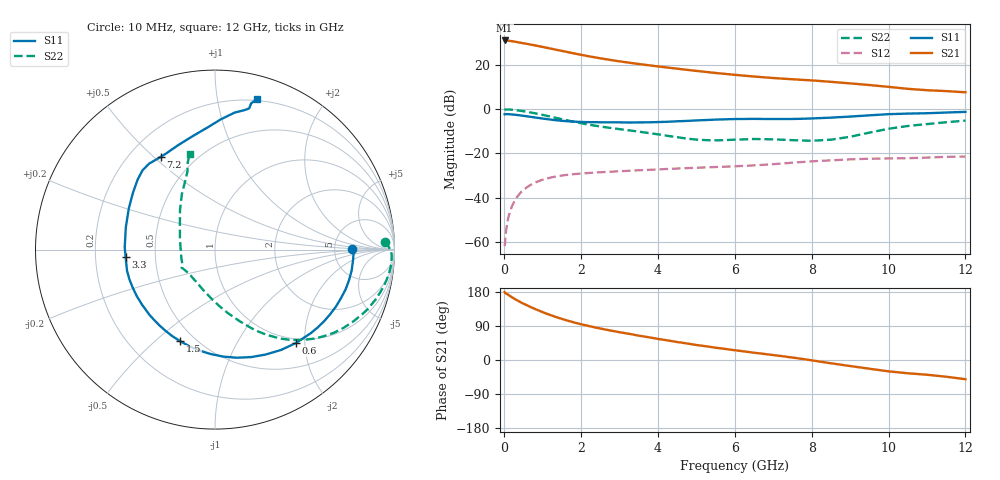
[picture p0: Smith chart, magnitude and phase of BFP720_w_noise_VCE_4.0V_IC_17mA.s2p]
! Infineon Technologies  Discrete & RF Semiconductors
! BFP720
! VCE =  4.0 V,  IC =  17 mA
! Common Emitter S-Parameters:  Aug 2012
# GHz  S  MA  R  50
!  f  S11  S21  S12  S22
! GHz  MAG  ANG  MAG  ANG  MAG  ANG  MAG  ANG
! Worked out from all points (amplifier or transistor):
!   105 points, 10 MHz to 12 GHz, reference 50 ohm
!   highest |S21| = 31.1 dB at 10 MHz (marker M1)
!   |S21| within 3 dB of that: start of sweep to 1.019 GHz
!   unconditionally stable (mu >= 1): start of sweep to 15.02 MHz; 4.653 GHz to 10.76 GHz
!   at 300 MHz: K = 0.17, MSG = 35.5 dB, |S12| = -40.5 dB
!   at 3.6 GHz: K = 0.85, MSG = 23.9 dB, |S12| = -27.6 dB
!   at 12 GHz: K = 0.76, MSG = 14.5 dB, |S12| = -21.4 dB
!   lowest NFmin = 0.67 dB at 450 MHz
!   S11 on the Smith chart (normalised r, x): 10 MHz: 7.51, +0.19; 600 MHz: 0.92, -1.82; 1.5 GHz: 0.42, -0.61; 3.3 GHz: 0.33, -0.04; 7.2 GHz: 0.33, +0.53; 12 GHz: 0.19, +1.30
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0.01  0.765 0.4  35.76 179.1  0.0008 17.1  0.9485 2.7
0.02  0.7725 -1.3  35.69 177.3  0.0009 65.9  0.9809 -0.3
0.05  0.7716 -4.0  35.7 175.6  0.0018 80.0  0.9855 -2.0
0.15  0.7661 -12.8  34.94 169.0  0.0047 79.7  0.9793 -7.5
0.3  0.7446 -25.3  33.26 159.5  0.0094 74.9  0.9496 -14.7
0.45  0.7178 -37.3  31.49 151.3  0.0136 69.8  0.9123 -21.4
0.6  0.6887 -49.0  29.82 143.9  0.0174 65.0  0.868 -27.5
0.8  0.6493 -64.2  27.66 134.7  0.0218 58.7  0.8074 -35.1
1  0.6143 -78.7  25.51 126.4  0.0255 53.2  0.7427 -41.9
1.2  0.5824 -92.3  23.51 118.7  0.0283 48.4  0.68 -47.8
1.5  0.5464 -110.7  20.74 108.5  0.0316 42.5  0.5935 -55.4
1.8  0.5238 -126.2  18.34 99.6  0.0339 38.0  0.5212 -61.7
2.1  0.5113 -138.7  16.3 92.1  0.0356 34.9  0.4642 -66.7
2.6  0.5049 -155.4  13.66 81.0  0.0379 31.1  0.3942 -74.1
3.3  0.4995 -175.4  11.09 68.2  0.0407 27.9  0.3273 -83.5
4.1  0.5144 163.6  9.039 54.1  0.0439 25.2  0.2617 -97.2
5  0.5571 145.0  7.332 39.6  0.0474 22.6  0.2055 -122.5
6.1  0.5994 131.3  5.871 24.5  0.0516 20.7  0.2058 -148.2
7.2  0.599 120.3  4.927 10.5  0.0589 19.5  0.2045 -153.6
8.5  0.6436 101.3  4.152 -8.6  0.0697 12.3  0.2042 163.3
10.5  0.7948 78.0  2.882 -35.0  0.0779 -1.1  0.4167 113.5
12  0.8682 74.5  2.409 -50.7  0.085 -10.2  0.5518 104.9
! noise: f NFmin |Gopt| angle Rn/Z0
0.45  0.67  0.19  1  0.39
1.8  0.74  0.2  11  0.14
2.4  0.79  0.19  17  0.43
5.5  1.01  0.11  -46  0.18
10  1.18  0.45  -73  0.29
